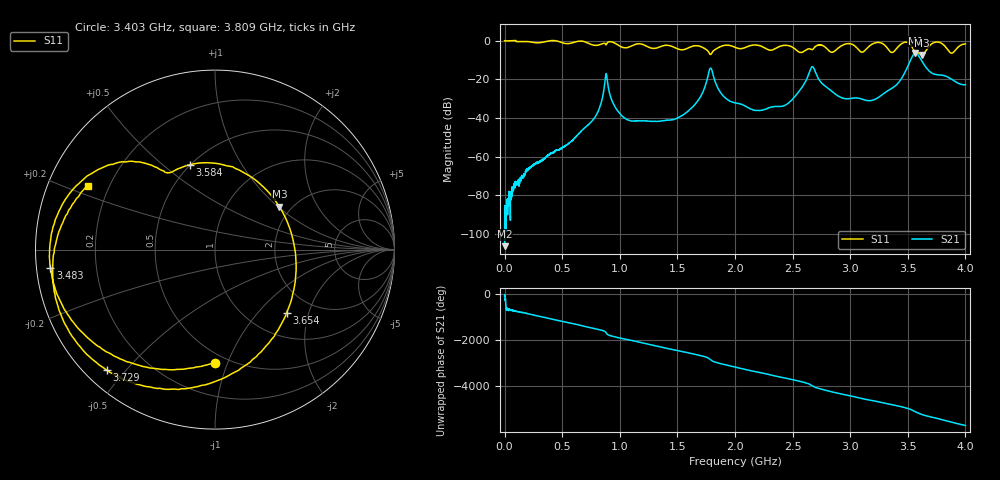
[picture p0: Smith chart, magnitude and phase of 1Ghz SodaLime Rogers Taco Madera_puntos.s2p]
! NanoVNA-App
! Date: 2025-10-30 21:20:22
! Start: 10kHz Stop: 4GHz Points: 3201
! S-Parameter data: F S11 S21 S12 S22
# Hz S RI R 50
!  Frequency  S11_Real  S11_Imag  S21_Real  S21_Imag  S12_Real  S12_Imag  S22_Real  S22_Imag
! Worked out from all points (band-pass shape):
!   3201 points, 10 kHz to 4 GHz, reference 50 ohm
!   highest |S21| = -6.33 dB at 3.566 GHz (marker M1); lowest = -106.5 dB at 10 kHz (marker M2)
!   |S21| within 3 dB of the highest: 3.529 GHz to 3.61 GHz (80.57 MHz wide, 2.26 % of centre)
!   lowest |S11| = -7.3 dB at 3.62 GHz (marker M3), VSWR 2.51, Z = 86.9 + j50.9 ohm
!   |S11| at or under -10 dB: nowhere
!   S12 and S22 are empty: the file has one direction only
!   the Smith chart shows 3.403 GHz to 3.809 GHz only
!   S11 on the Smith chart (normalised r, x): 3.403 GHz: 0.43, -0.90; 3.483 GHz: 0.04, -0.05; 3.584 GHz: 0.50, +0.62; 3.654 GHz: 1.47, -1.46; 3.729 GHz: 0.06, -0.45; 3.809 GHz: 0.12, +0.23
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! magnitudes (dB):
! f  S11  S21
! 10 kHz  0.0  -106.5
! 667.5 MHz  -0.2  -46.7
! 803.8 MHz  -2.3  -37.6
! 882.5 MHz  -2.0  -17.0
! 1.034 GHz  -3.6  -39.7
! 1.334 GHz  -3.5  -41.7
! 1.628 GHz  -2.9  -34.5
! 1.788 GHz  -7.1  -14.2
! 2 GHz  -3.4  -32.2
! 2.433 GHz  -2.4  -33.5
! 2.668 GHz  -4.6  -13.5
! 2.936 GHz  -2.2  -29.7
! 3.334 GHz  -4.7  -25.6
! 3.403 GHz  -4.0  -22.8
! 3.483 GHz  -0.7  -15.5
! 3.566 GHz  -6.0  -6.3
! 3.584 GHz  -6.1  -6.9
! 3.62 GHz  -7.3  -10.3
! 3.654 GHz  -5.5  -13.5
! 3.729 GHz  -0.9  -17.3
! 3.809 GHz  -2.0  -17.9
! 4 GHz  -1.7  -22.8
